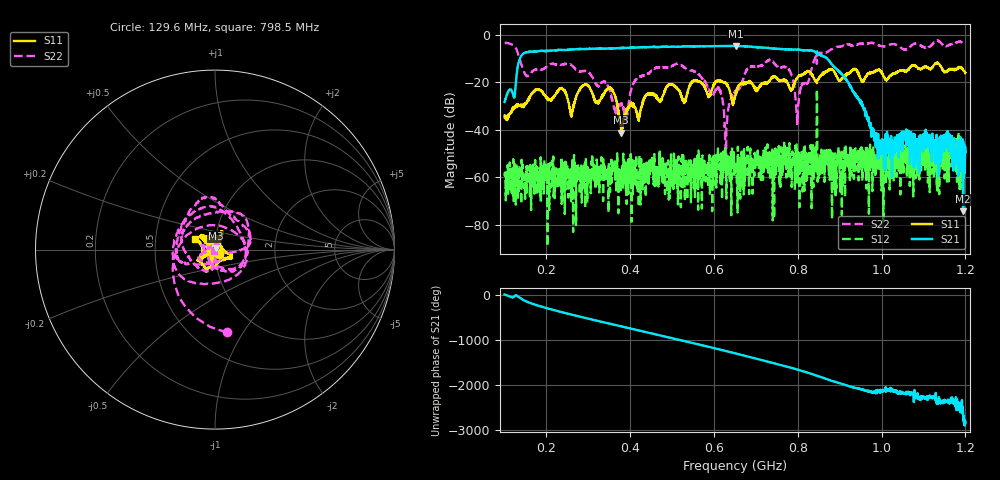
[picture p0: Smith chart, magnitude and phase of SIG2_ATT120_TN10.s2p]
# Hz S DB R 50
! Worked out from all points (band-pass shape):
!   1601 points, 100 MHz to 1.2 GHz, reference 50 ohm
!   highest |S21| = -4.67 dB at 651.4 MHz (marker M1); lowest = -74.3 dB at 1.194 GHz (marker M2)
!   |S21| within 3 dB of the highest: 146.9 MHz to 844.7 MHz (697.8 MHz wide, 141 % of centre); 845.5368 MHz to 846.518 MHz (981.2 kHz wide, 0.116 % of centre)
!   lowest |S11| = -41.2 dB at 378.4 MHz (marker M3), VSWR 1.02, Z = 50.5 + j0.69 ohm
!   |S11| at or under -10 dB: start of sweep to end of sweep
!   |S22| runs from -60.2 to -2.4 dB; largest |S21 - S12| = 0.58
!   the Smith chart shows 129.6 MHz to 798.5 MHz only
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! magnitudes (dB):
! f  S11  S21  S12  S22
! 100 MHz  -34.0  -28.3  -59.6  -3.4
! 122 MHz  -31.1  -26.3  -71.1  -4.5
! 145.4 MHz  -30.5  -7.8  -63.2  -15.1
! 236.1 MHz  -22.3  -6.3  -71.3  -12.5
! 260.2 MHz  -33.0  -6.2  -59.7  -12.9
! 283.6 MHz  -21.8  -6.0  -57.9  -15.4
! 354.4 MHz  -22.5  -5.7  -52.6  -25.2
! 378.4 MHz  -41.2  -5.6  -57.1  -29.7
! 390.1 MHz  -33.5  -5.5  -66.5  -34.9
! 467.1 MHz  -27.6  -5.1  -63.9  -13.7
! 610.8 MHz  -19.4  -4.8  -56.0  -22.9
! 628 MHz  -20.4  -4.7  -58.3  -51.4
! 650 MHz  -26.2  -4.7  -58.2  -23.8
! 651.4 MHz  -25.2  -4.7  -56.7  -23.9
! 734.6 MHz  -19.0  -5.7  -60.5  -10.7
! 779.9 MHz  -22.2  -6.2  -45.6  -14.8
! 799.2 MHz  -18.0  -6.2  -56.2  -33.0
! 833.6 MHz  -16.6  -6.6  -48.8  -13.8
! 1.017 GHz  -17.7  -45.1  -52.0  -4.3
! 1.153 GHz  -15.5  -46.8  -44.8  -4.7
! 1.194 GHz  -14.6  -74.3  -44.7  -3.6
! 1.2 GHz  -16.1  -49.3  -50.5  -4.3
